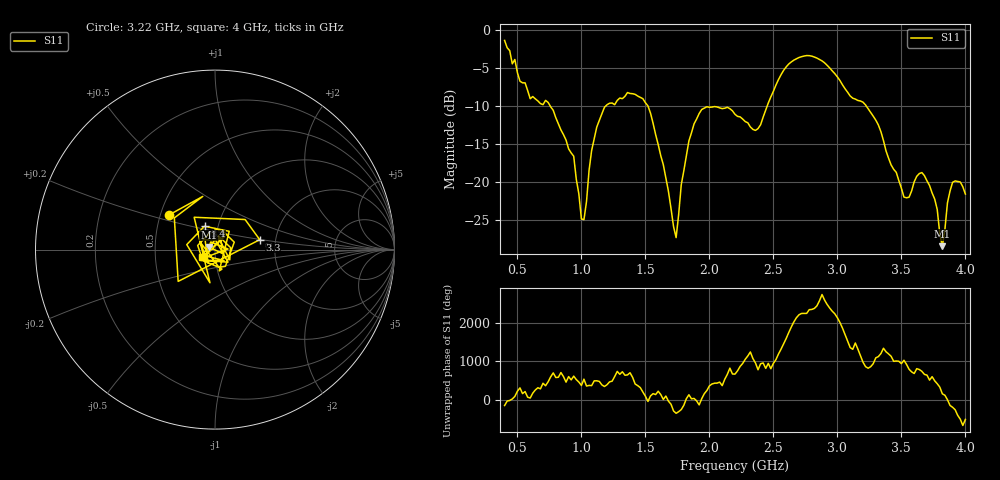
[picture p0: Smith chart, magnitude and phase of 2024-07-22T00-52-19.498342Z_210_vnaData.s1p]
!Created with skrf (http://scikit-rf.org).
# Hz S RI R 50.0
!freq ReS11 ImS11
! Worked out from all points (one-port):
!   181 points, 400 MHz to 4 GHz, reference 50 ohm
!   lowest |S11| = -28.5 dB at 3.82 GHz (marker M1), VSWR 1.08, Z = 46.6 + j1.4 ohm
!   |S11| at or under -10 dB: 756.5 MHz to 1.19 GHz (433.1 MHz wide, 44.5 % of centre); 1.52 GHz to 2.451 GHz (930.8 MHz wide, 46.9 % of centre); 3.226 GHz to end of sweep
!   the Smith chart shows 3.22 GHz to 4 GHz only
!   S11 on the Smith chart (normalised r, x): 3.22 GHz: 0.55, +0.24; 3.3 GHz: 1.65, +0.19; 3.4 GHz: 0.86, +0.23; 4 GHz: 0.86, -0.07
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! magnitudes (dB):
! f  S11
! 400 MHz  -1.3
! 600 MHz  -9.0
! 740 MHz  -9.5
! 860 MHz  -13.8
! 940 MHz  -16.6
! 1 GHz  -24.9
! 1.02 GHz  -25.0
! 1.12 GHz  -12.8
! 1.3 GHz  -8.9
! 1.52 GHz  -10.0
! 1.74 GHz  -27.4
! 1.76 GHz  -24.3
! 1.84 GHz  -14.6
! 1.92 GHz  -11.0
! 2.2 GHz  -11.1
! 2.38 GHz  -13.0
! 2.66 GHz  -3.9
! 2.88 GHz  -4.0
! 3.1 GHz  -8.7
! 3.22 GHz  -9.9
! 3.3 GHz  -11.9
! 3.4 GHz  -16.9
! 3.56 GHz  -22.0
! 3.68 GHz  -19.2
! 3.76 GHz  -22.3
! 3.82 GHz  -28.5
! 3.9 GHz  -20.1
! 4 GHz  -21.6
